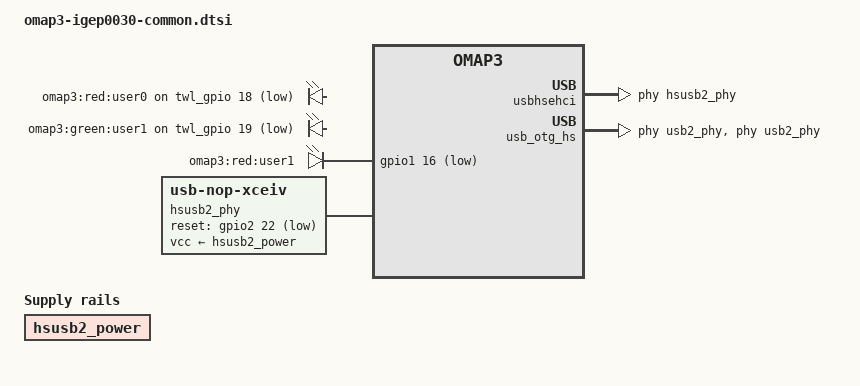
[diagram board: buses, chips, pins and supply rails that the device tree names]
/*
 * Common Device Tree Source for IGEP COM MODULE
 *
 * Copyright (C) 2014 Javier Martinez Canillas <javier@osg.samsung.com>
 * Copyright (C) 2014 Enric Balletbo i Serra <eballetbo@gmail.com>
 *
 * This program is free software; you can redistribute it and/or modify
 * it under the terms of the GNU General Public License version 2 as
 * published by the Free Software Foundation.
 */

#include "omap3-igep.dtsi"

/ {
	leds: gpio_leds {
		compatible = "gpio-leds";

		user0 {
			 label = "omap3:red:user0";
			 gpios = <&twl_gpio 18 GPIO_ACTIVE_LOW>;	/* LEDA */
			 default-state = "off";
		};

		user1 {
			 label = "omap3:green:user1";
			 gpios = <&twl_gpio 19 GPIO_ACTIVE_LOW>;	/* LEDB */
			 default-state = "off";
		};

		user2 {
			 label = "omap3:red:user1";
			 gpios = <&gpio1 16 GPIO_ACTIVE_LOW>;		/* gpio_16 */
			 default-state = "off";
		};
	};

	hsusb2_power: regulator-hsusb2_power {
		compatible = "regulator-fixed";
		regulator-name = "hsusb2_power";
		regulator-always-on;
	};		

	hsusb2_phy: hsusb2_phy {
		compatible = "usb-nop-xceiv";
		reset-gpios = <&gpio2 22 GPIO_ACTIVE_LOW>;		/* gpio_54 = reset for USB3322*/
		vcc-supply = <&hsusb2_power>;
		#phy-cells = <0>;		
	};
};

&omap3_pmx_core {
	pinctrl-names = "default";
	pinctrl-0 = <&hsusb_otg_pins>;

	hsusb_otg_pins: pinmux_hsusb_otg_pins {
		pinctrl-single,pins = <
			OMAP3_CORE1_IOPAD(0x21a2, PIN_INPUT | MUX_MODE0)	/* hsusb0_clk.hsusb0_clk */
			OMAP3_CORE1_IOPAD(0x21a4, PIN_OUTPUT | MUX_MODE0)	/* hsusb0_stp.hsusb0_stp */
			OMAP3_CORE1_IOPAD(0x21a6, PIN_INPUT | MUX_MODE0)	/* hsusb0_dir.hsusb0_dir */
			OMAP3_CORE1_IOPAD(0x21a8, PIN_INPUT | MUX_MODE0)	/* hsusb0_nxt.hsusb0_nxt */

			OMAP3_CORE1_IOPAD(0x21aa, PIN_INPUT | MUX_MODE0)	/* hsusb0_data0.hsusb0_data0 */
			OMAP3_CORE1_IOPAD(0x21ac, PIN_INPUT | MUX_MODE0)	/* hsusb0_data1.hsusb0_data1 */
			OMAP3_CORE1_IOPAD(0x21ae, PIN_INPUT | MUX_MODE0)	/* hsusb0_data2.hsusb0_data2 */
			OMAP3_CORE1_IOPAD(0x21b0, PIN_INPUT | MUX_MODE0)	/* hsusb0_data3.hsusb0_data3 */
			OMAP3_CORE1_IOPAD(0x21b2, PIN_INPUT | MUX_MODE0)	/* hsusb0_data4.hsusb0_data4 */
			OMAP3_CORE1_IOPAD(0x21b4, PIN_INPUT | MUX_MODE0)	/* hsusb0_data5.hsusb0_data5 */
			OMAP3_CORE1_IOPAD(0x21b6, PIN_INPUT | MUX_MODE0)	/* hsusb0_data6.hsusb0_data6 */
			OMAP3_CORE1_IOPAD(0x21b8, PIN_INPUT | MUX_MODE0)	/* hsusb0_data7.hsusb0_data7 */
		>;
	};	

};

&omap3_pmx_core2 {
	pinctrl-names = "default";
	pinctrl-0 = <&hsusb2_core2_pins>;

	hsusb2_core2_pins: pinmux_hsusb2_core2_pins {
		pinctrl-single,pins = <
			OMAP3630_CORE2_IOPAD(0x25f0, PIN_OUTPUT | MUX_MODE3)		      /* etk_d10.hsusb2_clk */
			OMAP3630_CORE2_IOPAD(0x25f2, PIN_OUTPUT | MUX_MODE3)		      /* etk_d11.hsusb2_stp */
			OMAP3630_CORE2_IOPAD(0x25f4, PIN_INPUT_PULLDOWN | MUX_MODE3)	/* etk_d12.hsusb2_dir */
			OMAP3630_CORE2_IOPAD(0x25f6, PIN_INPUT_PULLDOWN | MUX_MODE3)	/* etk_d13.hsusb2_nxt */
			OMAP3630_CORE2_IOPAD(0x25f8, PIN_INPUT_PULLDOWN | MUX_MODE3)	/* etk_d14.hsusb2_data0 */
			OMAP3630_CORE2_IOPAD(0x25fa, PIN_INPUT_PULLDOWN | MUX_MODE3)	/* etk_d15.hsusb2_data1 */
		>;
	};

	leds_core2_pins: pinmux_leds_core2_pins {
		pinctrl-single,pins = <
			OMAP3630_CORE2_IOPAD(0x25e0, PIN_OUTPUT | MUX_MODE4)	/* etk_d2.gpio_16 */
		>;
	};
};

&usbhshost {
	port2-mode = "ehci-phy";
};

&usbhsehci {
	phys = <0 &hsusb2_phy>;
};

&gpmc {
	ranges = <0 0 0x30000000 0x01000000>;   /* CS0: 16MB for NAND */
};

#include "twl4030.dtsi"
#include "twl4030_omap3.dtsi"

&usb_otg_hs {
	interface-type = <0>;
	usb-phy = <&usb2_phy>;
	phys = <&usb2_phy>;
	phy-names = "usb2-phy";
	mode = <3>;
	power = <50>;
};
